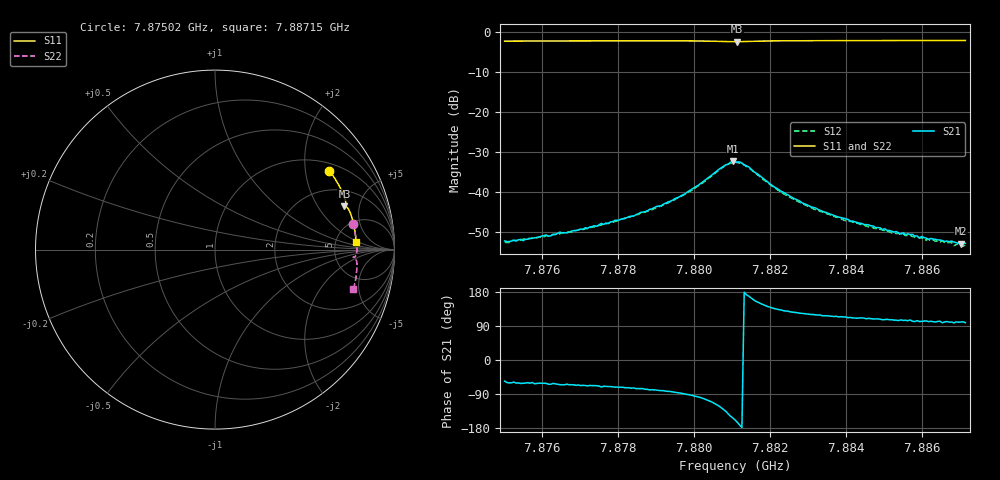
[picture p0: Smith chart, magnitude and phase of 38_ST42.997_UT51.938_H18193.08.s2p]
#  HZ  S  DB  R  50.00
! Rohde & Schwarz Vector Network Analyzer
! Rohde-Schwarz,ZNB20-2Port,1311601062101988,3.16
! Created: UTC 1/12/2023, 6:31:56 PM
! freq[Hz]  db:S11  ang:S11  db:S21  ang:S21  db:S12  ang:S12  db:S22  ang:S22
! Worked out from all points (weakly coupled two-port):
!   201 points, 7.87502 GHz to 7.88715 GHz, reference 50 ohm
!   highest |S21| = -32.32 dB at 7.88102 GHz (marker M1); lowest = -53.0 dB at 7.88703 GHz (marker M2)
!   lowest |S11| = -2.4 dB at 7.88114 GHz (marker M3), VSWR 7.34, Z = 155 + j177 ohm
!   |S11| at or under -10 dB: nowhere
!   |S22| runs from -2.3 to -1.9 dB; largest |S21 - S12| = 0.0018
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7.875016e9  -2.23 34.5  -52.27 -55.7  -52.58 -60.8  -2.14 10.5
7.875501e9  -2.22 33.2  -52.20 -61.3  -51.79 -63.2  -2.12 9.4
7.877078e9  -2.19 28.9  -49.34 -67.0  -49.44 -70.3  -2.08 5.7
7.878412e9  -2.17 25.2  -46.04 -73.5  -45.99 -78.3  -2.05 2.5
7.87908e9  -2.17 23.4  -43.52 -80.6  -43.68 -83.4  -2.05 1.0
7.879747e9  -2.18 21.4  -40.58 -89.3  -40.64 -92.9  -2.05 -0.7
7.880778e9  -2.33 18.6  -33.57 -130.4  -33.72 -133.6  -2.19 -3.2
7.881021e9  -2.38 18.4  -32.32 -152.7  -32.66 -156.0  -2.25 -3.2
7.881081e9  -2.38 18.5  -32.50 -158.1  -32.62 -162.1  -2.25 -3.1
7.881142e9  -2.38 18.5  -32.51 -164.4  -32.65 -168.4  -2.25 -3.1
7.881445e9  -2.31 18.3  -33.74 168.4  -34.01 164.1  -2.19 -3.1
7.882355e9  -2.16 15.8  -40.07 130.2  -40.45 127.3  -2.02 -5.1
7.883143e9  -2.13 13.6  -43.89 120.1  -44.22 115.8  -1.97 -7.0
7.884114e9  -2.11 10.9  -47.31 112.2  -47.39 108.4  -1.95 -9.3
7.885145e9  -2.09 8.2  -49.64 106.4  -49.97 103.5  -1.94 -11.6
7.885448e9  -2.08 7.4  -50.56 106.1  -50.65 101.9  -1.93 -12.3
7.885752e9  -2.09 6.6  -50.61 102.3  -51.15 98.9  -1.93 -12.9
7.885933e9  -2.08 6.1  -51.49 101.6  -51.52 98.9  -1.92 -13.3
7.886783e9  -2.08 3.9  -52.31 100.2  -52.63 95.1  -1.92 -15.1
7.886843e9  -2.08 3.7  -52.53 97.9  -53.46 96.8  -1.92 -15.2
7.887025e9  -2.07 3.3  -52.96 100.1  -53.11 96.0  -1.91 -15.6
7.887147e9  -2.07 2.9  -52.84 98.3  -53.29 95.2  -1.92 -15.9
